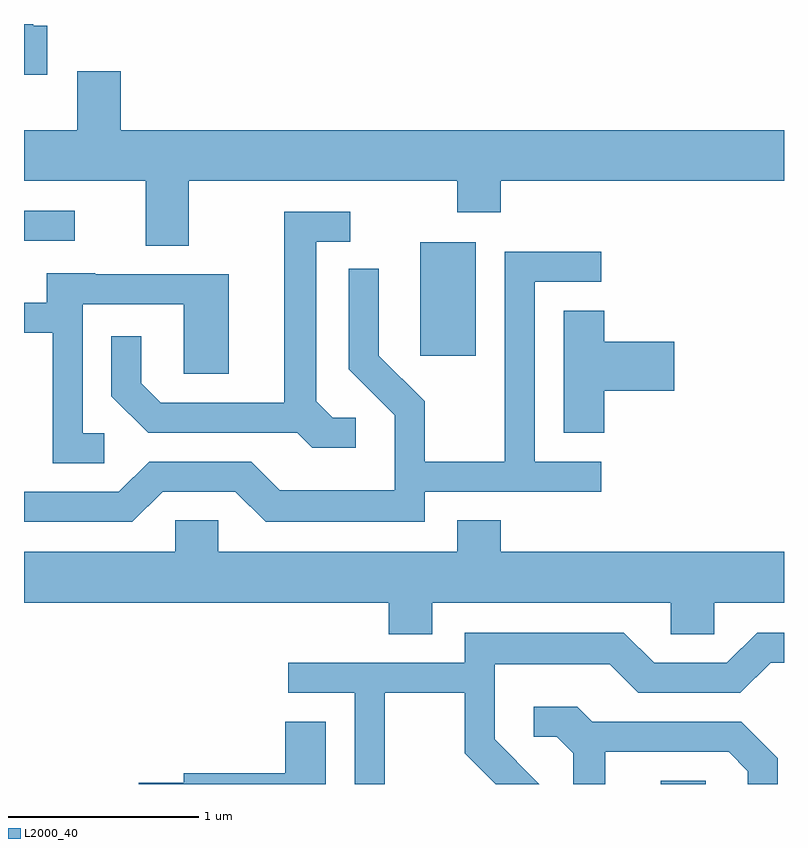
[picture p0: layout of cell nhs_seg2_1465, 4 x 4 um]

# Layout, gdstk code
import gdstk
lib = gdstk.Library(unit=1e-6, precision=1e-09)
def R(c, l, rs):  # rectangles x0, y0, x1, y1
    for r in rs: c.add(gdstk.rectangle(r[:2], r[2:], *l))
def P(c, l, *ps):  # polygons
    for p in ps: c.add(gdstk.Polygon(p, *l))
L2000_40 = (2000, 40)

nhs_seg2_1465 = lib.new_cell('nhs_seg2_1465')
R(nhs_seg2_1465, L2000_40, [(230.961,1051.802,231.199,1051.819), (229.696,1054.056,229.989,1054.654), (227.611,1054.661,227.878,1054.819)])
P(nhs_seg2_1465, L2000_40, [(227.734,1055.794),(227.659,1055.794),(227.659,1055.802),(227.611,1055.802),(227.611,1055.536),(227.734,1055.536)],
  [(228.479,1054.976),(229.891,1054.976),(229.891,1054.811),(230.119,1054.811),(230.119,1054.976),(231.611,1054.976),(231.611,1055.244),(228.119,1055.244),(228.119,1055.554),(227.891,1055.554),(227.891,1055.244),(227.611,1055.244),(227.611,1054.976),(228.251,1054.976),(228.251,1054.636),(228.479,1054.636)],
  [(229.358,1053.729),(229.237,1053.729),(229.149,1053.817),(229.149,1054.656),(229.328,1054.656),(229.328,1054.814),(228.981,1054.814),(228.981,1053.809),(228.332,1053.809),(228.229,1053.912),(228.229,1054.158),(228.071,1054.158),(228.071,1053.844),(228.264,1053.651),(229.049,1053.651),(229.129,1053.571),(229.358,1053.571)],
  [(228.342,1053.341),(228.724,1053.341),(228.884,1053.181),(229.719,1053.181),(229.719,1053.341),(230.648,1053.341),(230.648,1053.499),(230.299,1053.499),(230.299,1054.446),(230.648,1054.446),(230.648,1054.604),(230.141,1054.604),(230.141,1053.499),(229.719,1053.499),(229.719,1053.817),(229.479,1054.057),(229.479,1054.513),(229.321,1054.513),(229.321,1053.984),(229.561,1053.744),(229.561,1053.349),(228.957,1053.349),(228.807,1053.499),(228.269,1053.499),(228.109,1053.339),(227.611,1053.339),(227.611,1053.181),(228.182,1053.181)],
  [(228.033,1053.649),(227.919,1053.649),(227.919,1054.326),(228.451,1054.326),(228.451,1053.961),(228.689,1053.961),(228.689,1054.484),(227.985,1054.484),(227.985,1054.489),(227.731,1054.489),(227.731,1054.334),(227.611,1054.334),(227.611,1054.176),(227.761,1054.176),(227.761,1053.491),(228.033,1053.491)],
  [(230.664,1053.871),(231.034,1053.871),(231.034,1054.129),(230.664,1054.129),(230.664,1054.294),(230.451,1054.294),(230.451,1053.651),(230.664,1053.651)],
  [(229.759,1052.756),(231.016,1052.756),(231.016,1052.591),(231.244,1052.591),(231.244,1052.756),(231.611,1052.756),(231.611,1053.024),(230.119,1053.024),(230.119,1053.189),(229.891,1053.189),(229.891,1053.024),(228.634,1053.024),(228.634,1053.189),(228.406,1053.189),(228.406,1053.024),(227.611,1053.024),(227.611,1052.756),(229.531,1052.756),(229.531,1052.591),(229.759,1052.591)],
  [(229.509,1052.281),(229.931,1052.281),(229.931,1051.964),(230.093,1051.802),(230.324,1051.802),(230.089,1052.037),(230.089,1052.431),(230.694,1052.431),(230.844,1052.281),(231.382,1052.281),(231.542,1052.441),(231.611,1052.441),(231.611,1052.599),(231.469,1052.599),(231.309,1052.439),(230.927,1052.439),(230.767,1052.599),(229.931,1052.599),(229.931,1052.439),(229.003,1052.439),(229.003,1052.281),(229.351,1052.281),(229.351,1051.802),(229.509,1051.802)],
  [(230.669,1051.971),(231.319,1051.971),(231.421,1051.869),(231.421,1051.802),(231.579,1051.802),(231.579,1051.937),(231.387,1052.129),(230.602,1052.129),(230.522,1052.209),(230.293,1052.209),(230.293,1052.051),(230.414,1052.051),(230.501,1051.964),(230.501,1051.802),(230.669,1051.802)],
  [(229.199,1052.129),(228.986,1052.129),(228.986,1051.859),(228.451,1051.859),(228.451,1051.809),(228.216,1051.809),(228.216,1051.802),(229.199,1051.802)])

lib.write_gds('nhs_seg2_1465.gds')
